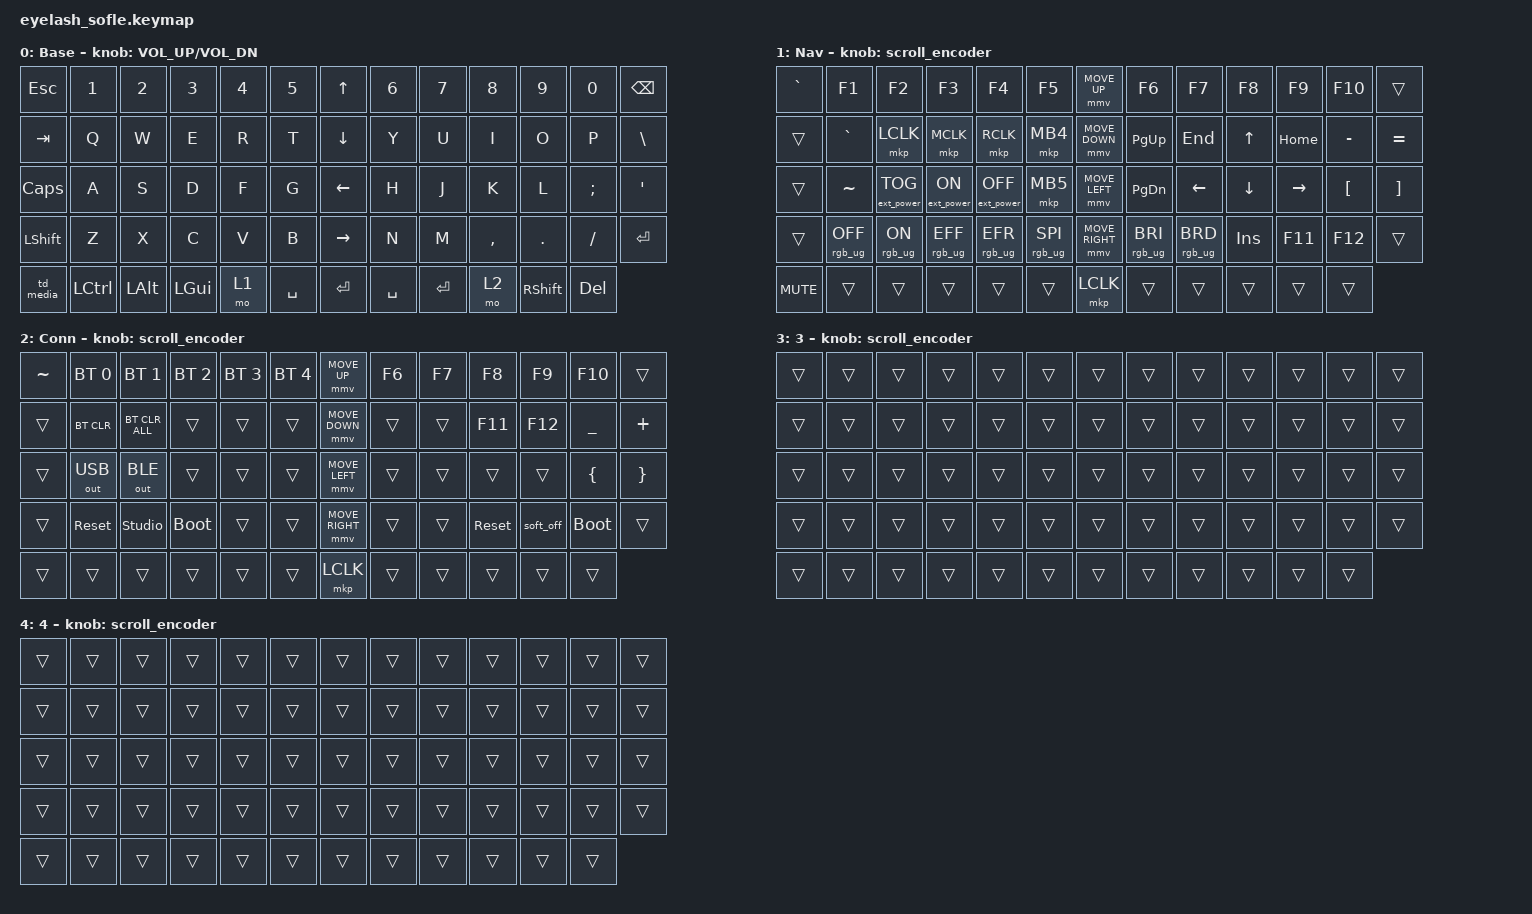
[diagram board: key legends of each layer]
#define ZMK_POINTING_DEFAULT_MOVE_VAL 1200  // 600
#define ZMK_POINTING_DEFAULT_SCRL_VAL 25   // 10

#include <input/processors.dtsi>
#include <zephyr/dt-bindings/input/input-event-codes.h>
#include <dt-bindings/pinctrl/nrf-pinctrl.h>
#include <behaviors.dtsi>
#include <dt-bindings/zmk/bt.h>
#include <dt-bindings/zmk/ext_power.h>
#include <dt-bindings/zmk/keys.h>
#include <dt-bindings/zmk/outputs.h>
#include <dt-bindings/zmk/pointing.h>
#include <dt-bindings/zmk/rgb.h>

/* OLED display support (SSD1306 128x32 over I2C) */

&pinctrl {
    i2c0_default: i2c0_default {
        group1 {
            psels = <NRF_PSEL(TWIM_SDA, 0, 17)>, <NRF_PSEL(TWIM_SCL, 0, 20)>;
        };
    };

    i2c0_sleep: i2c0_sleep {
        group1 {
            psels = <NRF_PSEL(TWIM_SDA, 0, 17)>, <NRF_PSEL(TWIM_SCL, 0, 20)>;

            low-power-enable;
        };
    };
};

&i2c0 {
    compatible = "nordic,nrf-twi";
    status = "okay";
    pinctrl-0 = <&i2c0_default>;
    pinctrl-1 = <&i2c0_sleep>;
    pinctrl-names = "default", "sleep";

    oled: ssd1306@3c {
        compatible = "solomon,ssd1306fb";
        reg = <0x3c>;
        width = <128>;
        height = <32>;
        segment-offset = <0>;
        page-offset = <0>;
        display-offset = <0>;
        multiplex-ratio = <31>;
        segment-remap;
        com-invdir;
        com-sequential;
        prechargep = <0x22>;
    };
};

&mmv_input_listener { input-processors = <&zip_xy_scaler 2 1>; };

&msc_input_listener { input-processors = <&zip_scroll_scaler 2 1>; };

&msc {
    acceleration-exponent = <1>;      // 0
    time-to-max-speed-ms = <100>;       // 300
    delay-ms = <0>;                   // 0
};

&mmv {
    time-to-max-speed-ms = <500>;
    acceleration-exponent = <1>;
    trigger-period-ms = <16>;
};

&soft_off { hold-time-ms = <2000>; };

/ {
    chosen { zephyr,display = &oled; };

    scroll_encoder: scroll_encoder {
        compatible = "zmk,behavior-sensor-rotate";
        #sensor-binding-cells = <0>;
        bindings = <&msc SCRL_DOWN>, <&msc SCRL_UP>;

        tap-ms = <100>;
    };

    behaviors {
        td_media: td_media {
            compatible = "zmk,behavior-tap-dance";
            #binding-cells = <0>;
            tapping-term-ms = <250>;
            bindings = <&kp C_PLAY_PAUSE>, <&kp C_NEXT>;
        };
    };

    combos {
        compatible = "zmk,combos";

        softoff {
            bindings = <&soft_off>;
            key-positions = <14 28 40>;
        };
    };

    macros {
        SHIFT_MCLK: SHIFT_MCLK {
            compatible = "zmk,behavior-macro";
            #binding-cells = <0>;
            bindings =
                <&macro_press>,
                <&kp LEFT_SHIFT>,
                <&macro_press>,
                <&mkp MB3>,
                <&macro_pause_for_release>,
                <&macro_release>,
                <&kp LEFT_SHIFT &mkp MB3>;

            label = "SHIFT_MCLK";
        };
    };

    keymap {
        compatible = "zmk,keymap";

        layer0 {
            bindings = <
&kp ESC    &kp N1     &kp N2        &kp N3        &kp N4  &kp N5       &kp UP_ARROW     &kp N6     &kp N7     &kp N8     &kp N9           &kp N0      &kp BACKSPACE
&kp TAB    &kp Q      &kp W         &kp E         &kp R   &kp T        &kp DOWN_ARROW   &kp Y      &kp U      &kp I      &kp O            &kp P       &kp BSLH
&kp CAPS   &kp A      &kp S         &kp D         &kp F   &kp G        &kp LEFT_ARROW   &kp H      &kp J      &kp K      &kp L            &kp SEMI    &kp APOS
&kp LSHFT  &kp Z      &kp X         &kp C         &kp V   &kp B        &kp RIGHT_ARROW  &kp N      &kp M      &kp COMMA  &kp DOT          &kp FSLH    &kp ENTER
&td_media  &kp LCTRL  &kp LEFT_ALT  &kp LEFT_GUI  &mo 1   &kp SPACE    &kp ENTER        &kp SPACE  &kp ENTER  &mo 2      &kp RIGHT_SHIFT  &kp DELETE
            >;

            sensor-bindings = <&inc_dec_kp C_VOLUME_UP C_VOL_DN>;
            display-name = "Base";
        };

        layer_1 {
            bindings = <
&kp GRAVE   &kp F1           &kp F2             &kp F3            &kp F4             &kp F5             &mmv MOVE_UP     &kp F6           &kp F7           &kp F8      &kp F9     &kp F10           &trans
&trans      &kp GRAVE        &mkp LCLK          &mkp MCLK         &mkp RCLK          &mkp MB4           &mmv MOVE_DOWN   &kp PG_UP        &kp END          &kp UP      &kp HOME   &kp MINUS         &kp EQUAL
&trans      &kp TILDE        &ext_power EP_TOG  &ext_power EP_ON  &ext_power EP_OFF  &mkp MB5           &mmv MOVE_LEFT   &kp PG_DN        &kp LEFT         &kp DOWN    &kp RIGHT  &kp LEFT_BRACKET  &kp RIGHT_BRACKET
&trans      &rgb_ug RGB_OFF  &rgb_ug RGB_ON     &rgb_ug RGB_EFF   &rgb_ug RGB_EFR    &rgb_ug RGB_SPI    &mmv MOVE_RIGHT  &rgb_ug RGB_BRI  &rgb_ug RGB_BRD  &kp INSERT  &kp F11    &kp F12           &trans
&kp C_MUTE  &trans           &trans             &trans            &trans             &trans             &mkp LCLK        &trans           &trans           &trans      &trans     &trans
            >;

            display-name = "Nav";
            sensor-bindings = <&scroll_encoder>;
        };

        layer_2 {
            bindings = <
&kp TILDE  &bt BT_SEL 0  &bt BT_SEL 1    &bt BT_SEL 2  &bt BT_SEL 3  &bt BT_SEL 4    &mmv MOVE_UP     &kp F6  &kp F7  &kp F8      &kp F9     &kp F10      &trans
&trans     &bt BT_CLR    &bt BT_CLR_ALL  &trans        &trans        &trans          &mmv MOVE_DOWN   &trans  &trans  &kp F11     &kp F12    &kp UNDER    &kp PLUS
&trans     &out OUT_USB  &out OUT_BLE    &trans        &trans        &trans          &mmv MOVE_LEFT   &trans  &trans  &trans      &trans     &kp LBRC     &kp RBRC
&trans     &sys_reset    &studio_unlock  &bootloader   &trans        &trans          &mmv MOVE_RIGHT  &trans  &trans  &sys_reset  &soft_off  &bootloader  &trans
&trans     &trans        &trans          &trans        &trans        &trans          &mkp LCLK        &trans  &trans  &trans      &trans     &trans
            >;

            display-name = "Conn";
            sensor-bindings = <&scroll_encoder>;
        };

        layer_3 {
            bindings = <
&trans  &trans  &trans  &trans  &trans  &trans    &trans  &trans  &trans  &trans  &trans  &trans  &trans
&trans  &trans  &trans  &trans  &trans  &trans    &trans  &trans  &trans  &trans  &trans  &trans  &trans
&trans  &trans  &trans  &trans  &trans  &trans    &trans  &trans  &trans  &trans  &trans  &trans  &trans
&trans  &trans  &trans  &trans  &trans  &trans    &trans  &trans  &trans  &trans  &trans  &trans  &trans
&trans  &trans  &trans  &trans  &trans  &trans    &trans  &trans  &trans  &trans  &trans  &trans
            >;

            display-name = "3";
            sensor-bindings = <&scroll_encoder>;
        };

        layer_4 {
            bindings = <
&trans  &trans  &trans  &trans  &trans  &trans    &trans  &trans  &trans  &trans  &trans  &trans  &trans
&trans  &trans  &trans  &trans  &trans  &trans    &trans  &trans  &trans  &trans  &trans  &trans  &trans
&trans  &trans  &trans  &trans  &trans  &trans    &trans  &trans  &trans  &trans  &trans  &trans  &trans
&trans  &trans  &trans  &trans  &trans  &trans    &trans  &trans  &trans  &trans  &trans  &trans  &trans
&trans  &trans  &trans  &trans  &trans  &trans    &trans  &trans  &trans  &trans  &trans  &trans
            >;

            display-name = "4";
            sensor-bindings = <&scroll_encoder>;
        };
    };
};
